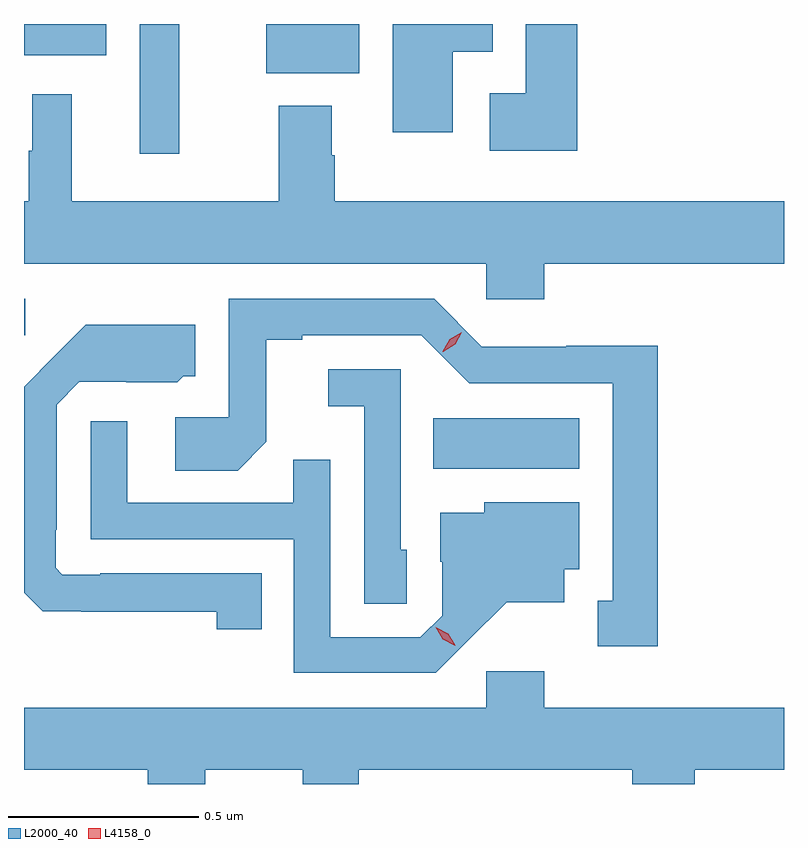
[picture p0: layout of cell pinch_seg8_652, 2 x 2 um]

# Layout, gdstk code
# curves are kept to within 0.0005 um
import gdstk
lib = gdstk.Library(unit=1e-6, precision=1e-09)
def R(c, l, rs):  # rectangles x0, y0, x1, y1
    for r in rs: c.add(gdstk.rectangle(r[:2], r[2:], *l))
def P(c, l, *ps):  # polygons
    for p in ps: c.add(gdstk.Polygon(p, *l))
L2000_40 = (2000, 40)
L4158_0 = (4158, 0)

pinch_seg8_652 = lib.new_cell('pinch_seg8_652')
R(pinch_seg8_652, L2000_40, [(191.758,1098.644,192.142,1098.778), (190.681,1098.996,190.684,1099.092), (190.985,1099.473,191.089,1099.815), (191.318,1099.685,191.563,1099.815), (190.681,1099.733,190.897,1099.815)])
P(pinch_seg8_652, L2000_40, [(192.137,1099.815),(192.002,1099.815),(192.002,1099.633),(191.907,1099.633),(191.907,1099.481),(192.137,1099.481)],
  [(191.809,1099.742),(191.914,1099.742),(191.914,1099.815),(191.651,1099.815),(191.651,1099.53),(191.809,1099.53)],
  [(191.499,1099.469),(191.491,1099.469),(191.491,1099.6),(191.351,1099.6),(191.351,1099.348),(190.807,1099.348),(190.807,1099.63),(190.703,1099.63),(190.703,1099.481),(190.693,1099.481),(190.693,1099.348),(190.681,1099.348),(190.681,1099.184),(191.898,1099.184),(191.898,1099.091),(192.05,1099.091),(192.05,1099.184),(192.681,1099.184),(192.681,1099.348),(191.499,1099.348)],
  [(192.349,1098.968),(192.108,1098.968),(192.108,1098.966),(191.886,1098.966),(191.76,1099.092),(191.22,1099.092),(191.22,1098.78),(191.079,1098.78),(191.079,1098.64),(191.243,1098.64),(191.319,1098.716),(191.319,1098.984),(191.413,1098.984),(191.413,1098.996),(191.727,1098.996),(191.853,1098.87),(192.23,1098.87),(192.23,1098.297),(192.191,1098.297),(192.191,1098.177),(192.349,1098.177)],
  [(191.306,1098.369),(190.882,1098.369),(190.882,1098.366),(190.782,1098.366),(190.764,1098.384),(190.764,1098.484),(190.767,1098.484),(190.767,1098.813),(190.827,1098.873),(190.95,1098.873),(190.95,1098.872),(191.084,1098.872),(191.1,1098.888),(191.131,1098.888),(191.131,1099.024),(190.843,1099.024),(190.681,1098.86),(190.681,1098.318),(190.73,1098.269),(190.831,1098.269),(190.831,1098.268),(191.188,1098.268),(191.188,1098.222),(191.306,1098.222)],
  [(191.688,1098.432),(191.673,1098.432),(191.673,1098.906),(191.481,1098.906),(191.481,1098.809),(191.577,1098.809),(191.577,1098.289),(191.688,1098.289)],
  [(191.848,1098.191),(191.951,1098.293),(192.103,1098.293),(192.103,1098.38),(192.142,1098.38),(192.142,1098.556),(191.892,1098.556),(191.892,1098.529),(191.777,1098.529),(191.777,1098.4),(191.781,1098.4),(191.781,1098.258),(191.724,1098.201),(191.487,1098.201),(191.487,1098.668),(191.389,1098.668),(191.389,1098.555),(190.953,1098.555),(190.953,1098.769),(190.857,1098.769),(190.857,1098.459),(191.391,1098.459),(191.391,1098.108),(191.764,1098.108)],
  [(191.158,1097.852),(191.414,1097.852),(191.414,1097.815),(191.562,1097.815),(191.562,1097.852),(192.281,1097.852),(192.281,1097.815),(192.446,1097.815),(192.446,1097.852),(192.681,1097.852),(192.681,1098.016),(192.05,1098.016),(192.05,1098.112),(191.898,1098.112),(191.898,1098.016),(190.681,1098.016),(190.681,1097.852),(191.006,1097.852),(191.006,1097.815),(191.158,1097.815)])
P(pinch_seg8_652, L4158_0, [(191.783,1098.953),(191.783,1098.954),(191.801,1098.986),(191.833,1099.004),(191.833,1099.004),(191.833,1099.004),(191.816,1098.972),(191.784,1098.953)],
  [(191.816,1098.179),(191.783,1098.196),(191.764,1098.227),(191.764,1098.227),(191.764,1098.227),(191.797,1098.211),(191.816,1098.18),(191.816,1098.179)])

lib.write_gds('pinch_seg8_652.gds')
